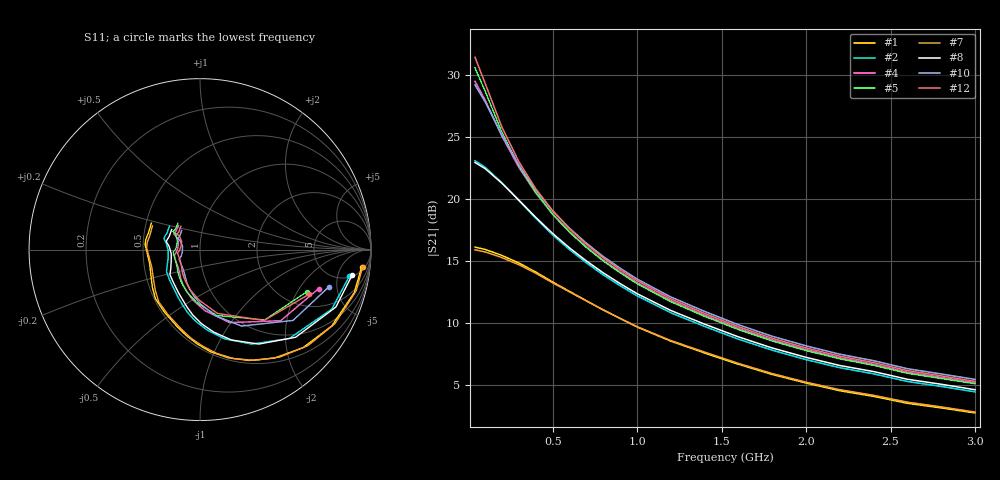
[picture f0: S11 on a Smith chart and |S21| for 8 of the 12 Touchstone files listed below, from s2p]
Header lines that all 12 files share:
! NXP part #: BFR520  Date: Sep 1991
#  MHz  S  MA  R  50
! Freq  S11  S21  S12  S22  !GUM [dB]
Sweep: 40 MHz to 3 GHz
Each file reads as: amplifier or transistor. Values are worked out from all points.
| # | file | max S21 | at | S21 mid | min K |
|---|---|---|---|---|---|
| 1 | Spar_BFR520_commonemitter3V2mA.s2p | 16.1 dB | 40 MHz | 9.7 dB at 1 GHz | 0.03 |
| 2 | Spar_BFR520_commonemitter3V5mA.s2p | 23.1 dB | 40 MHz | 12.2 dB at 1 GHz | 0.09 |
| 3 | Spar_BFR520_commonemitter3V10mA.s2p | 27.5 dB | 40 MHz | 13.1 dB at 1 GHz | 0.16 |
| 4 | Spar_BFR520_commonemitter3V15mA.s2p | 29.5 dB | 40 MHz | 13.3 dB at 1 GHz | 0.20 |
| 5 | Spar_BFR520_commonemitter3V20mA.s2p | 30.6 dB | 40 MHz | 13.2 dB at 1 GHz | 0.27 |
| 6 | Spar_BFR520_commonemitter3V30mA.s2p | 31.3 dB | 40 MHz | 12.2 dB at 1 GHz | 0.39 |
| 7 | Spar_BFR520_commonemitter6V2mA.s2p | 15.9 dB | 40 MHz | 9.7 dB at 1 GHz | 0.03 |
| 8 | Spar_BFR520_commonemitter6V5mA.s2p | 23.0 dB | 40 MHz | 12.4 dB at 1 GHz | 0.09 |
| 9 | Spar_BFR520_commonemitter6V10mA.s2p | 27.2 dB | 40 MHz | 13.3 dB at 1 GHz | 0.17 |
| 10 | Spar_BFR520_commonemitter6V15mA.s2p | 29.2 dB | 40 MHz | 13.6 dB at 1 GHz | 0.19 |
| 11 | Spar_BFR520_commonemitter6V20mA.s2p | 30.4 dB | 40 MHz | 13.6 dB at 1 GHz | 0.24 |
| 12 | Spar_BFR520_commonemitter6V30mA.s2p | 31.4 dB | 40 MHz | 13.4 dB at 1 GHz | 0.29 |
